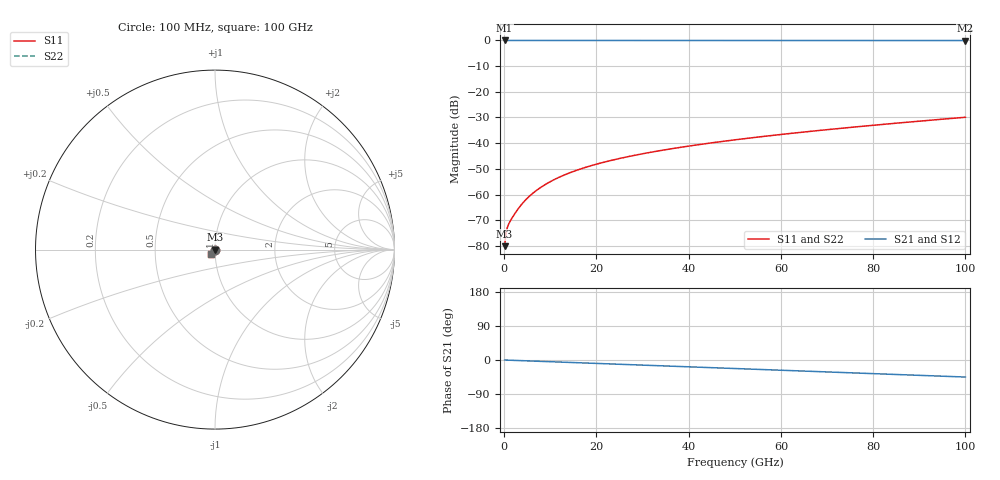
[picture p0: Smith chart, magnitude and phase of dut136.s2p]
! Touchstone file exported from HFSS 2026.1.0
!  File:  C:/ffzhzh/LocalFiles/Ansys_Project_Files/temp_train_TSV_136_1783506363_31944.aedt
!  Generated:  06:27:16 PM Jul  8, 2026
!  Design:  TSV
!  Project:  temp_train_TSV_136_1783506363_31944
! Variables:
!  h_bsmrdl = 2um
!  h_ox = 20um
!  h_rdl = 5um
!  h_sub = 90.27um
!  h_tmrdl = 5um
!  h_tsv = 90.27um
!  h_via = 3um
!  l_bsmrdl = 300um
!  l_sub = 425.86um
!  l_tmrdl = 200um
!  m_sub = 200um
!  pitch = 50.69um
!  r_tsv = 12.93um
!  s_tmrdl = 10um
!  w_bsmrdl = 18um
!  w_sub = 500um
!  w_tmrdl = 12um
!  x_tsv_center1 = 206um
!  x_tsv_center2 = 524um
!  x_tsv_center3 = 736um
!  x_tsv_center4 = 1054um
!  x_tsv_center5 = 1266um
!  x_tsv_center6 = 1584um
# GHz S MA R 50.000000
! Terminal data exported
! Port[1] = TSV1_1_T1
! Port[2] = TSV1_1_T2
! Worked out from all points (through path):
!   1000 points, 100 MHz to 100 GHz, reference 50 ohm
!   highest |S21| = 0.00 dB at 100 MHz (marker M1); lowest = 0.0 dB at 100 GHz (marker M2)
!   group delay of S21, straight-line fit = 1.25 ps
!   lowest |S11| = -80.1 dB at 100 MHz (marker M3), VSWR 1.00, Z = 50 + j0.00272 ohm
!   |S11| at or under -10 dB: start of sweep to end of sweep
!   |S22| runs from -80.1 to -29.9 dB; largest |S21 - S12| = 3.6e-15
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0.1  9.882e-05 16.0  0.9999 -0.0  0.9999 -0.0  9.882e-05 16.0
! Gamma 0 0 0 0
! Port Impedance 50 0 50 0
0.4  0.0001719 24.1  0.9998 -0.2  0.9998 -0.2  0.0001719 24.1
0.8  0.0002429 11.0  0.9998 -0.4  0.9998 -0.4  0.0002429 11.0
1  0.0002682 4.8  0.9997 -0.5  0.9997 -0.5  0.0002682 4.8
1.4  0.0003136 -5.3  0.9997 -0.6  0.9997 -0.6  0.0003136 -5.3
2.3  0.0004228 -21.7  0.9996 -1.0  0.9996 -1.0  0.0004228 -21.7
3.3  0.0005664 -34.2  0.9995 -1.5  0.9995 -1.5  0.0005664 -34.2
4.3  0.0007267 -43.2  0.9995 -1.9  0.9995 -1.9  0.0007267 -43.2
5.3  0.0008973 -49.9  0.9994 -2.4  0.9994 -2.4  0.0008973 -49.9
7.5  0.001296 -59.8  0.9993 -3.4  0.9993 -3.4  0.001296 -59.8
10.2  0.001823 -66.9  0.9991 -4.6  0.9991 -4.6  0.001823 -66.9
13.2  0.002436 -72.4  0.999 -5.9  0.999 -5.9  0.002436 -72.4
16.8  0.0032 -77.5  0.9989 -7.5  0.9989 -7.5  0.0032 -77.5
20.2  0.003944 -81.4  0.9988 -9.1  0.9988 -9.1  0.003945 -81.4
24.1  0.004825 -85.2  0.9987 -10.8  0.9987 -10.8  0.004826 -85.1
28.5  0.005858 -88.9  0.9985 -12.8  0.9985 -12.8  0.005858 -88.8
33.4  0.00706 -92.5  0.9984 -15.0  0.9984 -15.0  0.00706 -92.5
41.1  0.009074 -97.8  0.9982 -18.4  0.9982 -18.4  0.009074 -97.8
50.1  0.01164 -103.4  0.998 -22.5  0.998 -22.5  0.01164 -103.4
66.7  0.01711 -113.1  0.9976 -29.9  0.9976 -29.9  0.01711 -113.1
83.4  0.02379 -122.3  0.9971 -37.4  0.9971 -37.4  0.02379 -122.3
100  0.03195 -131.3  0.9964 -45.0  0.9964 -45.0  0.03195 -131.3
